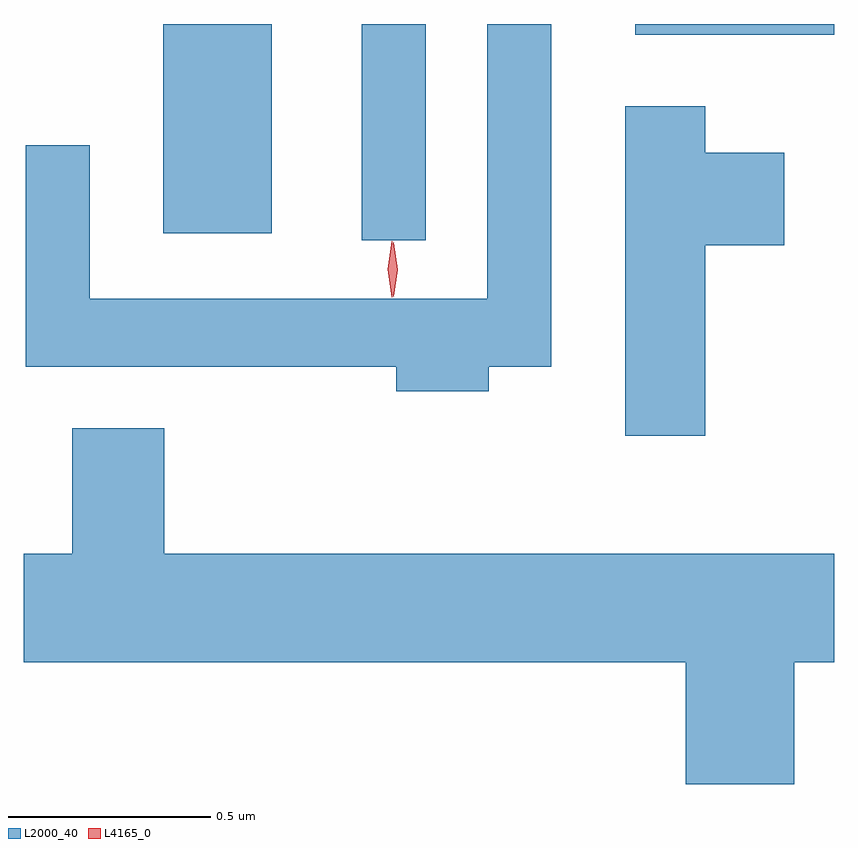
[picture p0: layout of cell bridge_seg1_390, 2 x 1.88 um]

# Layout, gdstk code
import gdstk
lib = gdstk.Library(unit=1e-6, precision=1e-09)
def R(c, l, rs):  # rectangles x0, y0, x1, y1
    for r in rs: c.add(gdstk.rectangle(r[:2], r[2:], *l))
def P(c, l, *ps):  # polygons
    for p in ps: c.add(gdstk.Polygon(p, *l))
L2000_40 = (2000, 40)
L4165_0 = (4165, 0)

bridge_seg1_390 = lib.new_cell('bridge_seg1_390')
R(bridge_seg1_390, L2000_40, [(873.616,869.538,873.774,870.072), (873.126,869.556,873.394,870.072), (874.291,870.046,874.782,870.072)])
P(bridge_seg1_390, L2000_40, [(873.929,869.226),(874.084,869.226),(874.084,870.072),(873.926,870.072),(873.926,869.394),(872.944,869.394),(872.944,869.773),(872.786,869.773),(872.786,869.226),(873.701,869.226),(873.701,869.166),(873.929,869.166)],
  [(874.464,869.526),(874.659,869.526),(874.659,869.754),(874.464,869.754),(874.464,869.869),(874.266,869.869),(874.266,869.056),(874.464,869.056)],
  [(874.684,868.496),(874.782,868.496),(874.782,868.764),(873.129,868.764),(873.129,869.074),(872.901,869.074),(872.901,868.764),(872.782,868.764),(872.782,868.496),(874.416,868.496),(874.416,868.196),(874.684,868.196)])
P(bridge_seg1_390, L4165_0, [(873.695,869.399),(873.694,869.4),(873.685,869.466),(873.694,869.532),(873.695,869.533),(873.695,869.532),(873.705,869.466),(873.695,869.4)],
  [(873.69,869.397),(873.69,869.397),(873.68,869.467),(873.69,869.536),(873.69,869.536),(873.691,869.536),(873.7,869.467),(873.691,869.397)])

lib.write_gds('bridge_seg1_390.gds')
